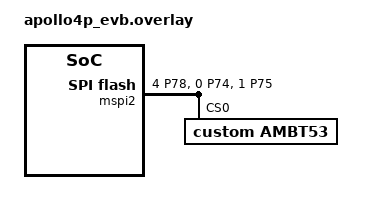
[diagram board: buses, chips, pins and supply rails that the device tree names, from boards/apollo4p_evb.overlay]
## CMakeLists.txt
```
# SPDX-License-Identifier: Apache-2.0

# For the sake of demonstration, we add the driver directory as a zephyr module
# by hand. If your driver is a project that's managed by west, you can remove this line.
list(APPEND EXTRA_ZEPHYR_MODULES
  ${CMAKE_CURRENT_SOURCE_DIR}/custom_drivers
  )

cmake_minimum_required(VERSION 3.20.0)

find_package(Zephyr REQUIRED HINTS $ENV{ZEPHYR_BASE})
project(out_of_tree_driver)

target_sources(app PRIVATE
  src/main.c
  )
```

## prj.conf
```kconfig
CONFIG_AMBT53_XIP_DRIVER=y
# CONFIG_MSPI_AMBIQ=y
CONFIG_SPI=y
CONFIG_SPI_EXTENDED_MODES=y
CONFIG_CUSTOM_MSPI_DRIVER=y
CONFIG_APPLICATION_DEFINED_SYSCALL=y
CONFIG_LOG=y
```

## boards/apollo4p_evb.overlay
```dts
#include <zephyr/dt-bindings/flash_controller/ospi.h>

&pinctrl {
	mspi0_default: mspi0_default{
		group1 {
			pinmux = <MSPI0_0_P64>,
				<MSPI0_1_P65>,
				<MSPI0_8_P72>;
		};
		group2 {
			pinmux = <NCE52_P52>;
			drive-push-pull;
			drive-strength = "1.0";
			ambiq,iom-nce-module = <32>;
		};
	};
	mspi0_quad: mspi0_quad{
		group1 {
			pinmux = <MSPI0_0_P64>,
				<MSPI0_1_P65>,
				<MSPI0_2_P66>,
				<MSPI0_3_P67>,
				<MSPI0_8_P72>;
		};
		group2 {
			pinmux = <NCE52_P52>;
			drive-push-pull;
			drive-strength = "1.0";
			ambiq,iom-nce-module = <32>;
		};
	};

	mspi2_default: mspi2_default{
		group1 {
			pinmux = <MSPI2_4_P78>,
				<MSPI2_0_P74>,
				<MSPI2_1_P75>;
		};
		group2 {
			pinmux = <NCE83_P83>;
			drive-push-pull;
			drive-strength = "1.0";
			ambiq,iom-nce-module = <36>;
		};
	};
	mspi2_quad: mspi2_quad{
		group1 {
			pinmux = <MSPI2_4_P78>,
				<MSPI2_0_P74>,
				<MSPI2_1_P75>,
				<MSPI2_2_P76>,
				<MSPI2_3_P77>;
		};
		group2 {
			pinmux = <NCE83_P83>;
			drive-push-pull;
			drive-strength = "1.0";
			ambiq,iom-nce-module = <36>;
		};
	};
};
/* SPDX-License-Identifier: Apache-2.0 */
qspi: &mspi2 {
	compatible = "custom,ambiq-qspi";
	pinctrl-0 = <&mspi2_default>;
	pinctrl-1 = <&mspi2_quad>;
	pinctrl-names = "default", "quad";
	reg = <0x40062000 0x400>, <0x1C000000 0x4000000>;
	reg-names = "qspi", "qspi_mm";
	status = "okay";
	ambt53: ambt53@0 {
		compatible = "custom,ambt53";
		reg = <0>;
		max-frequency = <4000000>;
		dummy-cycles = <32>;
		spi-bus-width = <OSPI_QUAD_MODE>;
		status = "okay";
	};
};
```

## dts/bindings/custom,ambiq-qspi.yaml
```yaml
# Copyright (c) 2019 Nordic Semiconductor ASA
# SPDX-License-Identifier: Apache-2.0

description: |
    Properties defining the interface for the Nordic QSPI peripheral.

    The reg property describes two register blocks: one for the memory
    corresponding to the QSPI peripheral registers, and another for
    the memory mapped XIP area:

        qspi: qspi@2b000 {
                compatible = "nordic,nrf-qspi";
                reg = <0x2b000 0x1000>, <0x10000000 0x10000000>;
                reg-names = "qspi", "qspi_mm";
                ...
        };

    Above, the register block with base address 0x2b000 and name
    "qspi" are the QSPI peripheral registers. The register block with
    base address 0x10000000 and name "qspi_mm" is the XIP area.

compatible: "custom,ambiq-qspi"

include: [spi-controller.yaml, pinctrl-device.yaml, ambiq-pwrcfg.yaml]

properties:
  reg:
    required: true

  interrupts:
    required: true

  ambiq,pwrcfg:
    required: true

# bus: qspi

# properties:
#   "#address-cells":
#     required: true
#     const: 1

#   "#size-cells":
#     required: true
#     const: 0

#   interrupts:
#     required: true

#   pinctrl-0:
#     required: true
```

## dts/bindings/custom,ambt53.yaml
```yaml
# Copyright (c) 2019 Nordic Semiconductor ASA
# SPDX-License-Identifier: Apache-2.0

description: |
    Properties defining the interface for ambt53 device.

    Representation of a device on a spi/qspi/octospi bus:

        ambt53: ambt53@0 {
                compatible = "custom,ambt53";
                reg = <0>;
                max-frequency = <4000000>;
                spi-bus-width = <OSPI_QUAD_MODE>;
                reset-gpios = <&gpioa 2 GPIO_ACTIVE_LOW>;
                dqs-en;
                status = "okay";
        };

compatible: "custom,ambt53"

include: [base.yaml]

# on-bus: qspi

properties:
  reg:
    required: true

  max-frequency:
    type: int
    required: true
    description: Maximum clock frequency of device's SPI/QSPI/OSPI interface in Hz
  dummy-cycles:
    type: int
    required: true
    description: Dummy cycles required for preparing data for read operation
  reset-gpios:
    type: phandle-array
    description: RESETn pin
  spi-bus-width:
    type: int
    required: true
    description: |
     The width of (Octo)SPI bus to which AMBT53 is connected.

     Possible values are :
      - OSPI_SPI_MODE  <1> = SPI mode on 1 data line
      - OSPI_DUAL_MODE <2> = Dual mode on 2 data lines
      - OSPI_QUAD_MODE <4> = Quad mode on 4 data lines
      - OSPI_OPI_MODE  <8> = Octo mode on 8 data lines
    enum:
      - 1
      - 2
      - 4
      - 8
  dqs-en:
    type: boolean
    description: |
      Enable DQS feature.
```

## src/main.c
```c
/*
 * Copyright (c) 2019 Nordic Semiconductor
 *
 * SPDX-License-Identifier: Apache-2.0
 */
#include <errno.h>
#include "ambt53_xip_driver.h"
#include <stdio.h>
#include <zephyr/kernel.h>


const struct device *dev;

static void user_entry(void *p1, void *p2, void *p3)
{
	// hello_world_print(dev);
}

int main(void)
{
	printk("Hello World from the app!\n");

	dev = DEVICE_DT_GET(DT_NODELABEL(ambt53));

	__ASSERT(dev, "Failed to get device binding");

	printk("device is %p, name is %s\n", dev, dev->name);
	
	ambt53_basic_config_get(dev);

	k_object_access_grant(dev, k_current_get());
	k_thread_user_mode_enter(user_entry, NULL, NULL, NULL);
	return 0;
}
```
